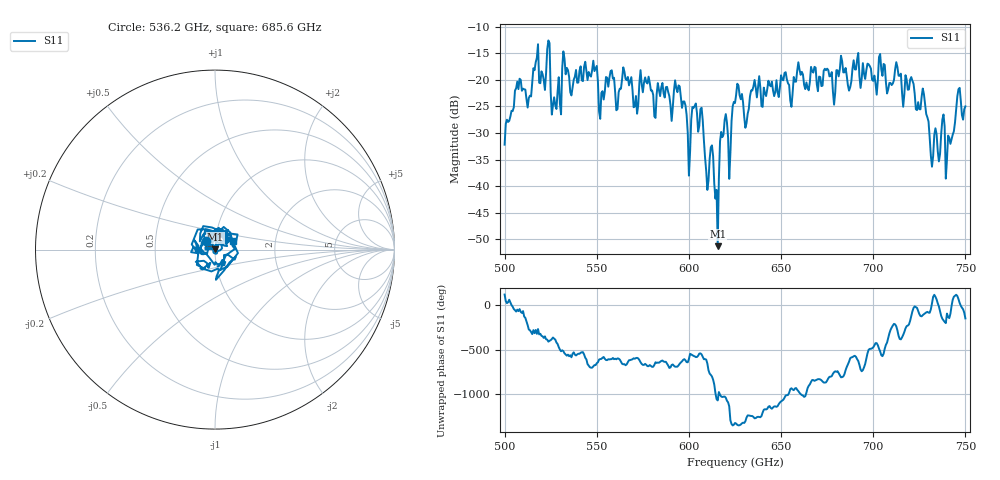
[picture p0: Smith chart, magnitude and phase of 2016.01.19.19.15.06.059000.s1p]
!Created with skrf (http://scikit-rf.org).
# GHz S RI R 50.0
!freq ReS11 ImS11
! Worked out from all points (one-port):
!   401 points, 500 GHz to 750 GHz, reference 50 ohm
!   lowest |S11| = -51.3 dB at 615.6 GHz (marker M1), VSWR 1.01, Z = 50.3 + j0.0604 ohm
!   |S11| at or under -10 dB: start of sweep to end of sweep
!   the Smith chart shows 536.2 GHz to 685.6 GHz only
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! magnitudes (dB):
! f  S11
! 500 GHz  -32.2
! 507.5 GHz  -21.7
! 513.1 GHz  -23.4
! 516.9 GHz  -16.7
! 523.8 GHz  -12.6
! 526.9 GHz  -23.3
! 531.2 GHz  -17.8
! 562.5 GHz  -21.7
! 593.8 GHz  -22.3
! 600 GHz  -38.0
! 602.5 GHz  -25.3
! 606.9 GHz  -25.2
! 609.4 GHz  -37.1
! 615.6 GHz  -51.3
! 618.1 GHz  -30.8
! 621.9 GHz  -38.6
! 625 GHz  -24.4
! 631.2 GHz  -28.2
! 635 GHz  -21.3
! 656.2 GHz  -22.5
! 687.5 GHz  -21.4
! 718.8 GHz  -21.9
! 727.5 GHz  -22.7
! 731.9 GHz  -36.3
! 737.5 GHz  -27.5
! 740.6 GHz  -30.5
! 746.2 GHz  -21.8
! 750 GHz  -25.0
